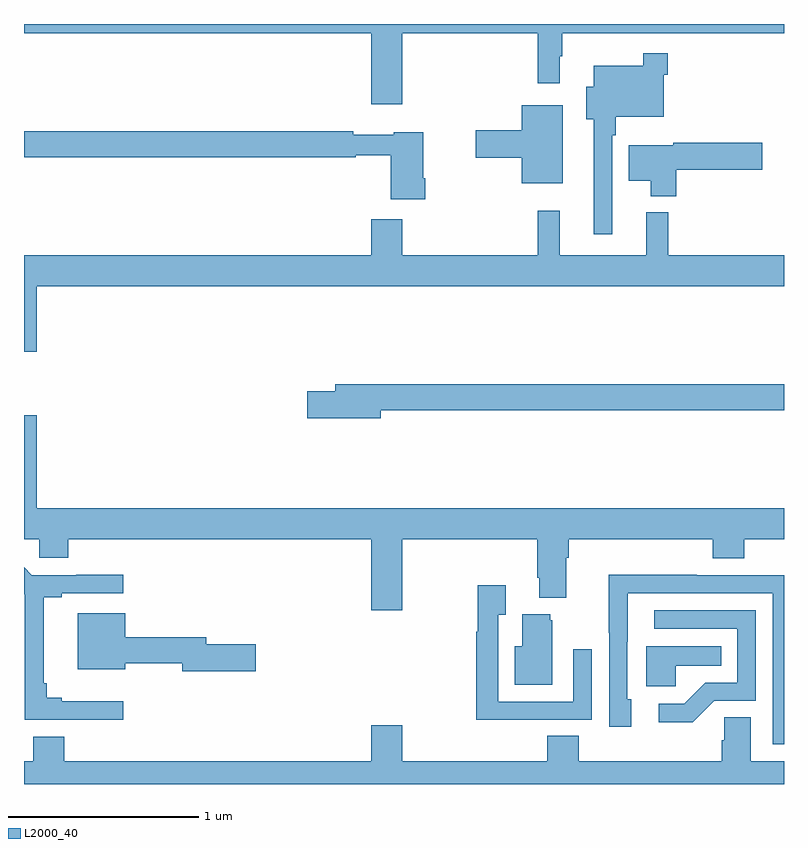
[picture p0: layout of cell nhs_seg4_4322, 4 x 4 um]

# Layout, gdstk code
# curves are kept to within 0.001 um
import gdstk
lib = gdstk.Library(unit=1e-6, precision=1e-09)
def P(c, l, *ps):  # polygons
    for p in ps: c.add(gdstk.Polygon(p, *l))
L2000_40 = (2000, 40)

nhs_seg4_4322 = lib.new_cell('nhs_seg4_4322')
P(nhs_seg4_4322, L2000_40, [(344.992,764.852),(345.703,764.852),(345.703,764.589),(345.82,764.589),(345.82,764.729),(345.832,764.729),(345.832,764.852),(347,764.852),(347,764.9),(343,764.9),(343,764.852),(344.828,764.852),(344.828,764.478),(344.992,764.478)],
  [(346.095,764.315),(346.115,764.315),(346.115,764.411),(346.368,764.411),(346.368,764.633),(346.388,764.633),(346.388,764.746),(346.26,764.746),(346.26,764.68),(345.998,764.68),(345.998,764.569),(345.959,764.569),(345.959,764.399),(345.998,764.399),(345.998,763.794),(346.095,763.794)],
  [(345.835,764.473),(345.62,764.473),(345.62,764.342),(345.378,764.342),(345.378,764.195),(345.62,764.195),(345.62,764.063),(345.835,764.063)],
  [(345.113,764.089),(345.1,764.089),(345.1,764.329),(344.946,764.329),(344.946,764.317),(344.732,764.317),(344.732,764.336),(343,764.336),(343,764.2),(344.746,764.2),(344.746,764.208),(344.93,764.208),(344.93,763.977),(345.113,763.977)],
  [(346.433,764.134),(346.885,764.134),(346.885,764.276),(346.416,764.276),(346.416,764.263),(346.184,764.263),(346.184,764.075),(346.298,764.075),(346.298,763.994),(346.433,763.994)],
  [(343.067,763.52),(347,763.52),(347,763.684),(346.391,763.684),(346.391,763.909),(346.274,763.909),(346.274,763.684),(345.821,763.684),(345.821,763.918),(345.703,763.918),(345.703,763.684),(344.992,763.684),(344.992,763.873),(344.828,763.873),(344.828,763.684),(343,763.684),(343,763.176),(343.067,763.176)],
  [(344.878,762.868),(347,762.868),(347,763.004),(344.639,763.004),(344.639,762.968),(344.49,762.968),(344.49,762.826),(344.878,762.826)],
  [(344.992,762.188),(345.701,762.188),(345.701,761.986),(345.713,761.986),(345.713,761.879),(345.853,761.879),(345.853,762.092),(345.866,762.092),(345.866,762.188),(346.625,762.188),(346.625,762.089),(346.79,762.089),(346.79,762.188),(347,762.188),(347,762.352),(343.067,762.352),(343.067,762.841),(343,762.841),(343,762.188),(343.08,762.188),(343.08,762.09),(343.232,762.09),(343.232,762.188),(344.828,762.188),(344.828,761.814),(344.992,761.814)],
  [(343.522,761.335),(343.198,761.335),(343.198,761.354),(343.121,761.354),(343.121,761.431),(343.103,761.431),(343.103,761.884),(343.198,761.884),(343.198,761.904),(343.522,761.904),(343.522,762.002),(343.275,762.002),(343.275,762),(343.042,762),(343,762.042),(343,761.9),(343.005,761.895),(343.005,761.238),(343.522,761.237)],
  [(347,762),(346.541,762),(346.541,762.002),(346.078,762.002),(346.078,761.695),(346.08,761.695),(346.08,761.202),(346.195,761.202),(346.195,761.346),(346.176,761.346),(346.176,761.65),(346.177,761.65),(346.177,761.904),(346.941,761.904),(346.941,761.109),(347,761.109)],
  [(345.671,761.238),(345.987,761.238),(345.987,761.608),(345.891,761.608),(345.891,761.334),(345.495,761.334),(345.495,761.791),(345.535,761.791),(345.535,761.947),(345.387,761.947),(345.387,761.702),(345.379,761.702),(345.379,761.237),(345.671,761.237)],
  [(346.632,761.337),(346.851,761.337),(346.851,761.814),(346.317,761.814),(346.317,761.718),(346.755,761.718),(346.755,761.433),(346.586,761.433),(346.475,761.322),(346.341,761.322),(346.341,761.225),(346.519,761.225)],
  [(344.221,761.636),(343.96,761.636),(343.96,761.672),(343.534,761.672),(343.534,761.8),(343.283,761.8),(343.283,761.504),(343.534,761.504),(343.534,761.536),(343.832,761.536),(343.832,761.494),(344.221,761.494)],
  [(345.781,761.763),(345.77,761.763),(345.77,761.794),(345.623,761.794),(345.623,761.626),(345.584,761.626),(345.584,761.423),(345.781,761.423)],
  [(346.431,761.522),(346.67,761.522),(346.67,761.626),(346.274,761.626),(346.274,761.414),(346.431,761.414)],
  [(347,761.02),(346.825,761.02),(346.825,761.252),(346.686,761.252),(346.686,761.129),(346.673,761.129),(346.673,761.02),(345.92,761.02),(345.92,761.153),(345.755,761.153),(345.755,761.02),(344.992,761.02),(344.992,761.209),(344.828,761.209),(344.828,761.02),(343.213,761.02),(343.213,761.149),(343.049,761.149),(343.049,761.02),(343,761.02),(343,760.9),(347,760.9)])

lib.write_gds('nhs_seg4_4322.gds')
